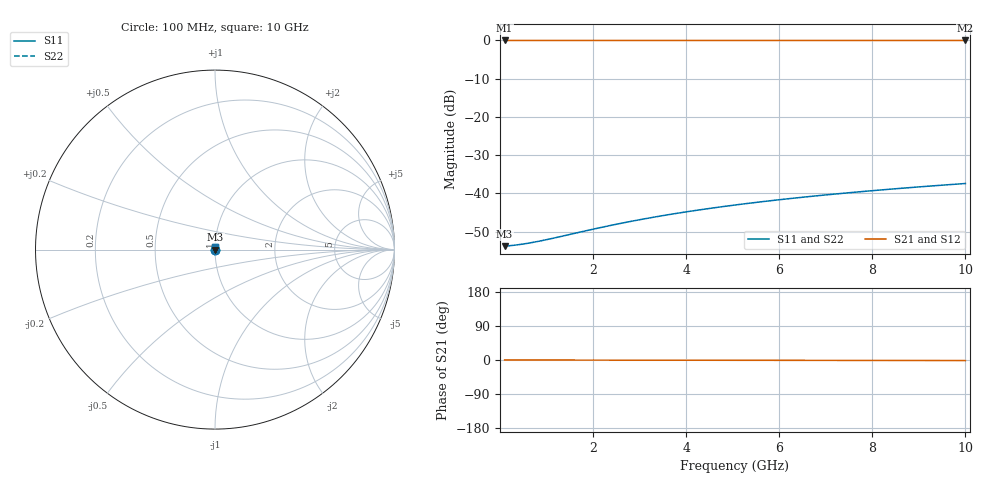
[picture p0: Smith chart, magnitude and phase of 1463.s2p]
# Hz S RI R 50.00
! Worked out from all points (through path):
!   100 points, 100 MHz to 10 GHz, reference 50 ohm
!   highest |S21| = -0.02 dB at 100 MHz (marker M1); lowest = 0.0 dB at 10 GHz (marker M2)
!   lowest |S11| = -53.8 dB at 100 MHz (marker M3), VSWR 1.00, Z = 50.2 + j0.0133 ohm
!   |S11| at or under -10 dB: start of sweep to end of sweep
!   |S22| runs from -53.8 to -37.4 dB; largest |S21 - S12| = 0
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1e8  0.00205 0.000133  0.998 -0.000248  0.998 -0.000248  0.00205 0.000133
3e8  0.00207 0.000398  0.9979 -0.000745  0.9979 -0.000745  0.00207 0.000398
4e8  0.00208 0.00053  0.9979 -0.000993  0.9979 -0.000993  0.00208 0.00053
5e8  0.00208 0.000663  0.9979 -0.00124  0.9979 -0.00124  0.00208 0.000663
7e8  0.0021 0.000928  0.9979 -0.00174  0.9979 -0.00174  0.0021 0.000928
9e8  0.00211 0.00119  0.9979 -0.00223  0.9979 -0.00223  0.00211 0.00119
1.1e9  0.00212 0.00146  0.9979 -0.00273  0.9979 -0.00273  0.00212 0.00146
1.8e9  0.00214 0.00239  0.9979 -0.00447  0.9979 -0.00447  0.00214 0.00239
2.2e9  0.00216 0.00292  0.9978 -0.00546  0.9978 -0.00546  0.00216 0.00292
2.6e9  0.00217 0.00345  0.9978 -0.00646  0.9978 -0.00646  0.00217 0.00345
3e9  0.00219 0.00398  0.9978 -0.00745  0.9978 -0.00745  0.00219 0.00398
3.4e9  0.00221 0.00451  0.9978 -0.00844  0.9978 -0.00844  0.00221 0.00451
3.8e9  0.00222 0.00504  0.9978 -0.00943  0.9978 -0.00943  0.00222 0.00504
4.2e9  0.00224 0.00557  0.9977 -0.0104  0.9977 -0.0104  0.00224 0.00557
4.6e9  0.00226 0.0061  0.9977 -0.0114  0.9977 -0.0114  0.00226 0.0061
5.1e9  0.00228 0.00676  0.9977 -0.0127  0.9977 -0.0127  0.00228 0.00676
5.9e9  0.00232 0.00782  0.9976 -0.0146  0.9976 -0.0146  0.00232 0.00782
6.7e9  0.00236 0.00888  0.9976 -0.0166  0.9976 -0.0166  0.00236 0.00888
7.5e9  0.00241 0.00994  0.9975 -0.0186  0.9975 -0.0186  0.00241 0.00994
8.4e9  0.00247 0.0111  0.9975 -0.0209  0.9975 -0.0209  0.00247 0.0111
9.2e9  0.00253 0.0122  0.9974 -0.0228  0.9974 -0.0228  0.00253 0.0122
1e10  0.00259 0.0132  0.9973 -0.0248  0.9973 -0.0248  0.00259 0.0132
